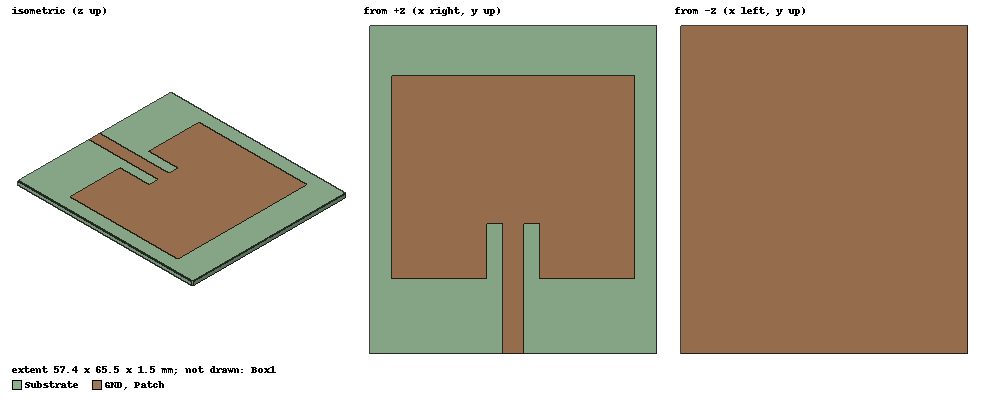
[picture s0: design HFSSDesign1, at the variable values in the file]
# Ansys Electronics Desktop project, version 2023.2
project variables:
  $f = 2.45GHz
  $epsilon_r = 2.2
  $h = 1.5mm
  $Wp = 48.4mm
  $Lp = 40.5mm
  $Wg = $Wp + 6*$h
  $Lg = $Lp + $Lf + $z
  $Wf = 4.1mm
  $g = 3.321mm
  $d = 10.92mm
  $Lf = 15mm
  $z = 10mm
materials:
  vacuum: permittivity=1
  Rogers RO3003 (tm): permittivity=3 dielectric_loss_tangent=0.0013
  Rogers RT/duroid 5880 (tm): permittivity=2.2 dielectric_loss_tangent=0.0009
  air: permittivity=1.0006 permeability=1.0000004

design HFSSDesign1 (HFSS, HFSS Terminal Network, model units mm)
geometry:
  GND = rectangle(corner=(-$Wg/2, -$Lg/2, 0mm), x_size=$Wg, y_size=$Lg)
  Substrate [Rogers RT/duroid 5880 (tm)] = box(corner=(-$Wg/2, -$Lg/2, 0mm), size=($Wg, $Lg, $h))
  Patch = rectangle(corner=(-$Wp/2, -$Lg/2 +$Lf, $h), x_size=$Wp, y_size=$Lp)
  Left_notch = rectangle(corner=(-$g-$Wf/2, -$Lg/2 + $Lf, $h), x_size=$g, y_size=$d)
  Right_notch = rectangle(corner=($Wf/2, -$Lg/2+$Lf, $h), x_size=$g, y_size=$d)
  Feed = rectangle(corner=(-$Wf/2, -$Lg/2, $h), x_size=$Wf, y_size=$d + $Lf)
  Patch.subtract(Left_notch)
  Patch.subtract(Right_notch)
  Port = rectangle(corner=(-$Wf/2, -$Lg/2, 0mm), z_size=$h, x_size=$Wf)
  Patch.unite(Feed)
  Box1 [air] = box(corner=(-150mm, -150mm, -150mm), size=(300mm, 300mm, 300mm))
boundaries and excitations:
  PerfE1: Perfect E Objects=Patch
  PerfE2: Perfect E Objects=GND
  Rad1: Radiation Objects=Box1
  1: Lumped Port Objects=Port LumpedPortType=Modal Modes{Mode1{IntLine{(0, -32.75, 0) -> (0, -32.75, 1.5)} CharImp=Zpi RenormImp=50ohm}} Impedance=50ohm
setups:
  Setup1: HfssDriven Frequency=2.45GHz MaxDeltaS=0.02 MaximumPasses=20 MinimumPasses=1 MinimumConvergedPasses=1 PercentRefinement=30 BasisOrder=1 PortAccuracy=2 DrivenSolverType="Direct Solver"
    sweep Sweep: 1.5GHz to 3GHz step 0.01GHz; Type=Fast SaveFields
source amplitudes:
  1:1: 1V 0deg
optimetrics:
  ParametricSetup1: Parametric Sim._Setups=[Setup1]
    sweep $g: LIN 0.1mm 4.1mm 0.1mm
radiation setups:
  Infinite Sphere1: Infinite Sphere Theta=0deg..180deg step 2deg Phi=-180deg..180deg step 2deg
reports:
  Terminal S Parameter Plot 1: dB(St(1,1)) vs Freq on Setup1 : Sweep; markers m3 at 2.45GHz, m4 at 2.4301714GHz, m5 at 2.4699275GHz
  Terminal S Parameter Plot 2: dB(St(1,1)) vs Freq on Setup1 : Sweep [$Lp=all]
  Terminal S Parameter Plot 3: dB(St(1,1)) vs Freq on Setup1 : Sweep [$Wp=all]
  Terminal S Parameter Plot 4: dB(St(1,1)) vs Freq on Setup1 : Sweep [$d=all]
  Terminal S Parameter Plot 5: dB(St(1,1)) vs Freq on Setup1 : Sweep [$g=all]
  Terminal S Parameter Plot 6: dB(St(1,1)) vs Freq on Setup1 : Sweep [$Lf=all]
